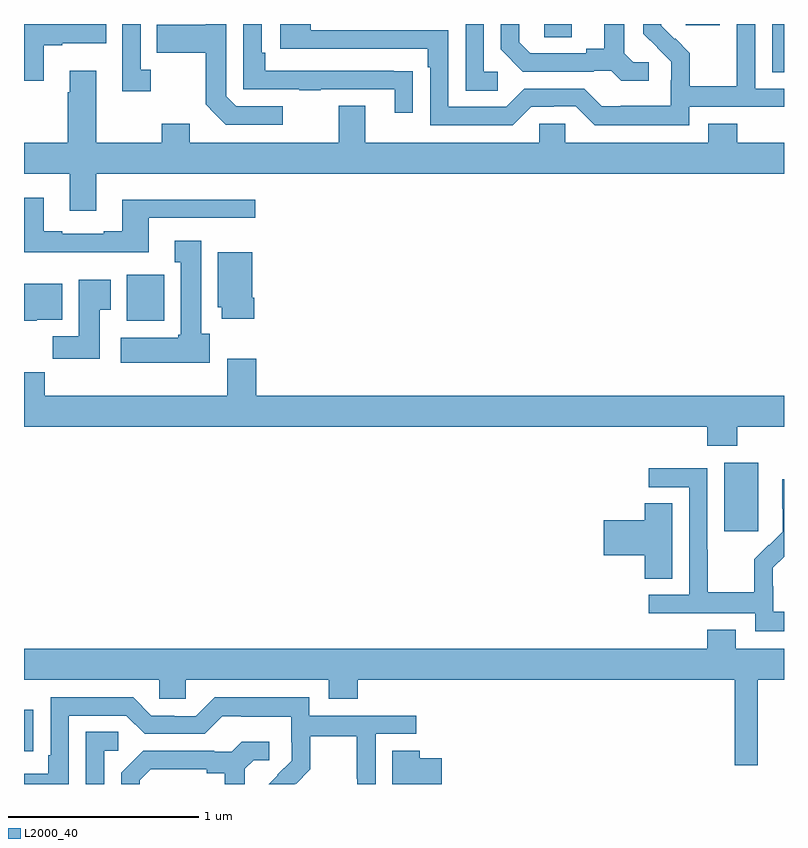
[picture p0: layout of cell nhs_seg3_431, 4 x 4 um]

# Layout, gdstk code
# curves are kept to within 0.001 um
import gdstk
lib = gdstk.Library(unit=1e-6, precision=1e-09)
def R(c, l, rs):  # rectangles x0, y0, x1, y1
    for r in rs: c.add(gdstk.rectangle(r[:2], r[2:], *l))
def P(c, l, *ps):  # polygons
    for p in ps: c.add(gdstk.Polygon(p, *l))
L2000_40 = (2000, 40)

nhs_seg3_431 = lib.new_cell('nhs_seg3_431')
R(nhs_seg3_431, L2000_40, [(133,668.572,133.049,668.791), (136.685,669.729,136.864,670.09), (133.541,670.838,133.738,671.08), (136.937,672.145,137,672.4), (135.738,672.331,135.883,672.4), (136.484,672.393,136.663,672.4)])
P(nhs_seg3_431, L2000_40, [(136.288,672.198),(136.206,672.198),(136.159,672.245),(136.159,672.4),(136.055,672.4),(136.055,672.269),(135.959,672.269),(135.959,672.246),(135.664,672.246),(135.607,672.303),(135.607,672.4),(135.51,672.4),(135.51,672.266),(135.626,672.15),(135.998,672.15),(135.998,672.153),(136.092,672.153),(136.144,672.101),(136.288,672.101)],
  [(133.105,672.287),(133.201,672.287),(133.201,672.299),(133.432,672.299),(133.432,672.4),(133,672.4),(133,672.102),(133.105,672.102)],
  [(136.5,671.964),(137,671.964),(137,672.06),(136.848,672.06),(136.848,672.4),(136.752,672.4),(136.752,672.296),(136.75,672.296),(136.75,672.073),(136.505,672.073),(136.505,672.247),(136.428,672.324),(136.425,672.321),(136.355,672.392),(136.355,672.4),(136.26,672.4),(136.26,672.35),(136.406,672.202),(136.406,672.105),(136.404,672.105),(136.404,671.971),(136.141,671.971),(136.141,671.967),(136.041,671.967),(135.948,672.06),(135.633,672.06),(135.537,671.964),(135.234,671.964),(135.234,672.366),(134.51,672.366),(134.51,672.4),(134.349,672.4),(134.349,672.27),(135.125,672.27),(135.125,672.173),(135.138,672.173),(135.138,671.868),(135.573,671.868),(135.669,671.964),(135.788,671.964),(135.788,671.967),(135.903,671.967),(136.003,671.867),(136.5,671.867)],
  [(135.493,672.15),(135.42,672.15),(135.42,672.4),(135.324,672.4),(135.324,672.049),(135.493,672.049)],
  [(135.047,672.152),(134.945,672.152),(134.945,672.153),(134.27,672.153),(134.27,672.25),(134.25,672.25),(134.25,672.4),(134.154,672.4),(134.154,672.057),(134.449,672.057),(134.449,672.052),(134.561,672.052),(134.561,672.057),(134.951,672.057),(134.951,671.934),(135.047,671.934)],
  [(134.362,671.967),(134.118,671.967),(134.064,672.021),(134.064,672.4),(133.956,672.4),(133.956,672.397),(133.699,672.397),(133.699,672.25),(133.956,672.25),(133.956,671.977),(134.061,671.871),(134.362,671.871)],
  [(133.666,672.158),(133.614,672.158),(133.614,672.4),(133.518,672.4),(133.518,672.045),(133.666,672.045)],
  [(133.381,671.612),(137,671.612),(137,671.776),(136.754,671.776),(136.754,671.875),(136.601,671.875),(136.601,671.776),(135.849,671.776),(135.849,671.874),(135.711,671.874),(135.711,671.776),(134.797,671.776),(134.797,671.971),(134.657,671.971),(134.657,671.776),(133.873,671.776),(133.873,671.875),(133.726,671.875),(133.726,671.776),(133.381,671.776),(133.381,672.154),(133.241,672.154),(133.241,672.041),(133.229,672.041),(133.229,671.776),(133,671.776),(133,671.612),(133.241,671.612),(133.241,671.418),(133.381,671.418)],
  [(133.657,671.379),(134.218,671.379),(134.218,671.476),(133.517,671.476),(133.517,671.308),(133.421,671.308),(133.421,671.295),(133.201,671.295),(133.201,671.308),(133.105,671.308),(133.105,671.485),(133,671.485),(133,671.198),(133.657,671.198)],
  [(133.978,670.77),(133.933,670.77),(133.933,671.26),(133.793,671.26),(133.793,671.147),(133.826,671.147),(133.826,670.764),(133.813,670.764),(133.813,670.75),(133.509,670.75),(133.509,670.616),(133.978,670.616)],
  [(134.213,670.96),(134.2,670.96),(134.2,671.2),(134.021,671.2),(134.021,670.908),(134.042,670.908),(134.042,670.848),(134.213,670.848)],
  [(133.399,670.897),(133.456,670.897),(133.456,671.053),(133.289,671.053),(133.289,670.756),(133.15,670.756),(133.15,670.638),(133.399,670.638)],
  [(133.068,670.844),(133.201,670.844),(133.201,671.032),(133,671.032),(133,670.838),(133.068,670.838)],
  [(136.755,670.28),(137,670.28),(137,670.444),(134.222,670.444),(134.222,670.639),(134.069,670.639),(134.069,670.444),(133.109,670.444),(133.109,670.568),(133,670.568),(133,670.28),(136.595,670.28),(136.595,670.181),(136.755,670.181)],
  [(137,669.307),(136.944,669.307),(136.944,669.441),(136.942,669.441),(136.942,669.538),(137,669.596),(137,670.004),(136.992,670.004),(136.992,669.85),(136.994,669.85),(136.994,669.728),(136.923,669.657),(136.92,669.66),(136.843,669.583),(136.843,669.409),(136.599,669.409),(136.599,669.632),(136.596,669.632),(136.596,670.062),(136.287,670.062),(136.287,669.963),(136.5,669.963),(136.5,669.396),(136.287,669.396),(136.287,669.3),(136.848,669.3),(136.848,669.203),(137,669.203)],
  [(136.411,669.878),(136.268,669.878),(136.268,669.788),(136.05,669.788),(136.05,669.605),(136.268,669.605),(136.268,669.481),(136.411,669.481)],
  [(136.861,668.948),(137,668.948),(137,669.112),(136.747,669.112),(136.747,669.211),(136.595,669.211),(136.595,669.112),(133,669.112),(133,668.948),(133.713,668.948),(133.713,668.85),(133.851,668.85),(133.851,668.948),(134.603,668.948),(134.603,668.849),(134.756,668.849),(134.756,668.948),(136.74,668.948),(136.74,668.499),(136.861,668.499)],
  [(133.236,668.76),(133.539,668.76),(133.635,668.664),(133.95,668.664),(134.043,668.757),(134.143,668.757),(134.143,668.753),(134.406,668.753),(134.406,668.619),(134.408,668.619),(134.408,668.522),(134.288,668.4),(134.424,668.4),(134.427,668.403),(134.43,668.4),(134.507,668.477),(134.507,668.652),(134.752,668.652),(134.752,668.428),(134.754,668.428),(134.754,668.4),(134.85,668.4),(134.85,668.664),(135.064,668.664),(135.064,668.76),(134.502,668.76),(134.502,668.857),(134.005,668.857),(133.905,668.757),(133.79,668.757),(133.79,668.76),(133.671,668.76),(133.575,668.856),(133.14,668.856),(133.14,668.551),(133.127,668.551),(133.127,668.454),(133,668.454),(133,668.4),(133.236,668.4)],
  [(133.422,668.574),(133.495,668.574),(133.495,668.675),(133.326,668.675),(133.326,668.4),(133.422,668.4)],
  [(133.609,668.421),(133.666,668.478),(133.961,668.478),(133.961,668.456),(134.057,668.456),(134.057,668.4),(134.161,668.4),(134.161,668.479),(134.208,668.526),(134.29,668.526),(134.29,668.623),(134.146,668.623),(134.094,668.571),(134,668.571),(134,668.574),(133.628,668.574),(133.512,668.458),(133.512,668.4),(133.609,668.4)],
  [(135.199,668.536),(135.083,668.536),(135.083,668.575),(134.939,668.575),(134.939,668.4),(135.199,668.4)])

lib.write_gds('nhs_seg3_431.gds')
